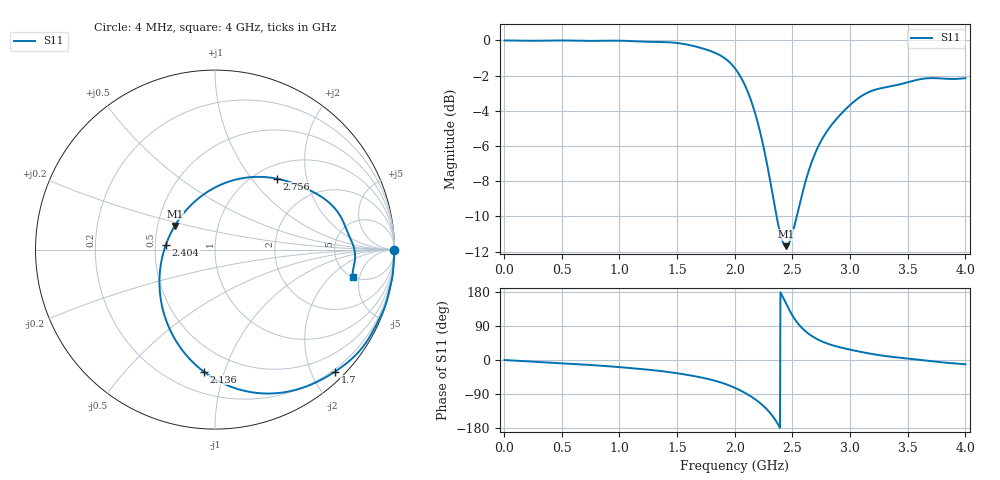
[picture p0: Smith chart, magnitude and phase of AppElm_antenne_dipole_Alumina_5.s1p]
! TOUCHSTONE file generated by CST MICROWAVE STUDIO
! Date and time: Sat May 14 10:02:57 2022
! Project name: AppElm_antenne_dipole_Alumina.cst
! Parameters = {L=33; e=0.035; f=2.45e+09; h=1.6; i=0.76; l1=2; lambda=122.449; ls=30; wl=1.7; ws=80}
! Header version: 2018
! Port assignment regex: !\s*Touchstone port\s*([0-9]+)\s*=\s*(CST MWS port|CST DS port)\s*([0-9]+|Zmin|Zmax)\s*\(\"(.*)\"\)(\s*mode\s*([0-9]+))?.*
! Touchstone port assignment:
! Touchstone port 1 = CST MWS port 1 ("")
# GHz S MA R 50
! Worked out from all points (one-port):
!   1000 points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, 4 MHz to 4 GHz, reference 50 ohm
!   lowest |S11| = -11.7 dB at 2.444 GHz (marker M1), VSWR 1.70, Z = 30.7 + j8.67 ohm
!   |S11| at or under -10 dB: 2.363 GHz to 2.537 GHz (174.5 MHz wide, 7.12 % of centre)
!   S11 on the Smith chart (normalised r, x): 4 MHz: open; 1.7 GHz: 0.16, -2.37; 2.136 GHz: 0.34, -0.85; 2.404 GHz: 0.57, +0.03; 2.756 GHz: 1.24, +1.35; 4 GHz: 4.97, -3.93
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0.004  1 -0.1
0.504  1 -8.6
1.004  0.9984 -18.9
1.32  0.9902 -27.8
1.504  0.9833 -35.1
1.7  0.9534 -45.5
1.784  0.9347 -51.2
1.86  0.9121 -57.5
1.932  0.8803 -64.8
2.004  0.8315 -73.8
2.072  0.765 -84.0
2.136  0.6824 -95.4
2.212  0.5626 -111.8
2.276  0.4518 -129.4
2.34  0.3472 -152.9
2.404  0.2748 174.1
2.444  0.2603 149.6
2.504  0.2861 115.5
2.56  0.34 91.9
2.616  0.4002 75.1
2.68  0.463 61.0
2.756  0.5236 49.0
2.864  0.5889 37.4
3.004  0.6576 27.0
3.204  0.7222 15.2
3.504  0.7613 3.8
3.68  0.7811 -2.4
4  0.7814 -11.4
